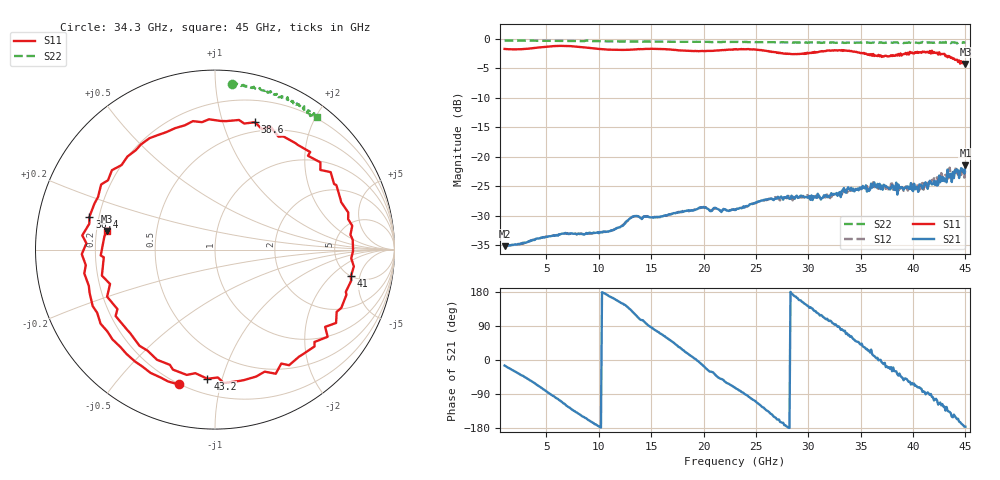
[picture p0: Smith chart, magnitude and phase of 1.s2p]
!Keysight Technologies,N5247B,MY61255062,A.19.80.06
!Date: Monday, May 18, 2026 11:48:08
!Correction: S11(Cdelta 2-Port  )
!S21(Cdelta 2-Port  )
!S12(Cdelta 2-Port  )
!S22(Cdelta 2-Port  )
!S2P File: Measurements: S11, S21, S12, S22:
# Hz S  dB  R 50
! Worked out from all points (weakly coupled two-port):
!   441 points, 1 GHz to 45 GHz, reference 50 ohm
!   highest |S21| = -21.49 dB at 45 GHz (marker M1); lowest = -35.2 dB at 1 GHz (marker M2)
!   lowest |S11| = -4.3 dB at 45 GHz (marker M3), VSWR 4.16, Z = 12.1 + j4 ohm
!   |S11| at or under -10 dB: nowhere
!   |S22| runs from -0.8 to -0.3 dB; largest |S21 - S12| = 0.017
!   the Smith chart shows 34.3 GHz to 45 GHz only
!   S11 on the Smith chart (normalised r, x): 34.3 GHz: 0.20, -0.75; 36.4 GHz: 0.16, +0.13; 38.6 GHz: 0.40, +1.28; 41 GHz: 4.99, -3.67; 43.2 GHz: 0.30, -0.90; 45 GHz: 0.24, +0.08
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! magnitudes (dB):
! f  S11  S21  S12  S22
! 1 GHz  -1.7  -35.2  -35.2  -0.3
! 6.6 GHz  -1.2  -33.1  -33.0  -0.3
! 8.4 GHz  -1.4  -33.1  -33.1  -0.4
! 11.3 GHz  -1.9  -32.5  -32.5  -0.4
! 13.4 GHz  -1.8  -30.1  -30.1  -0.4
! 15.7 GHz  -1.7  -30.2  -30.2  -0.5
! 19.8 GHz  -2.1  -28.6  -28.6  -0.5
! 23 GHz  -1.8  -29.0  -29.1  -0.5
! 26.9 GHz  -2.3  -27.1  -26.9  -0.6
! 30.4 GHz  -2.3  -27.4  -27.0  -0.6
! 32.1 GHz  -2.0  -26.5  -26.8  -0.6
! 34.3 GHz  -2.2  -25.4  -25.5  -0.6
! 35.7 GHz  -2.7  -25.5  -25.5  -0.6
! 36.4 GHz  -2.8  -25.0  -25.0  -0.7
! 37.7 GHz  -2.9  -25.3  -25.7  -0.6
! 38.6 GHz  -2.6  -24.7  -25.8  -0.7
! 40.5 GHz  -2.4  -26.0  -25.9  -0.7
! 41 GHz  -2.3  -25.3  -25.6  -0.7
! 42.9 GHz  -2.6  -23.5  -23.0  -0.6
! 43.2 GHz  -2.8  -24.3  -23.2  -0.6
! 44 GHz  -3.6  -22.3  -22.8  -0.6
! 45 GHz  -4.3  -21.5  -22.0  -0.6
